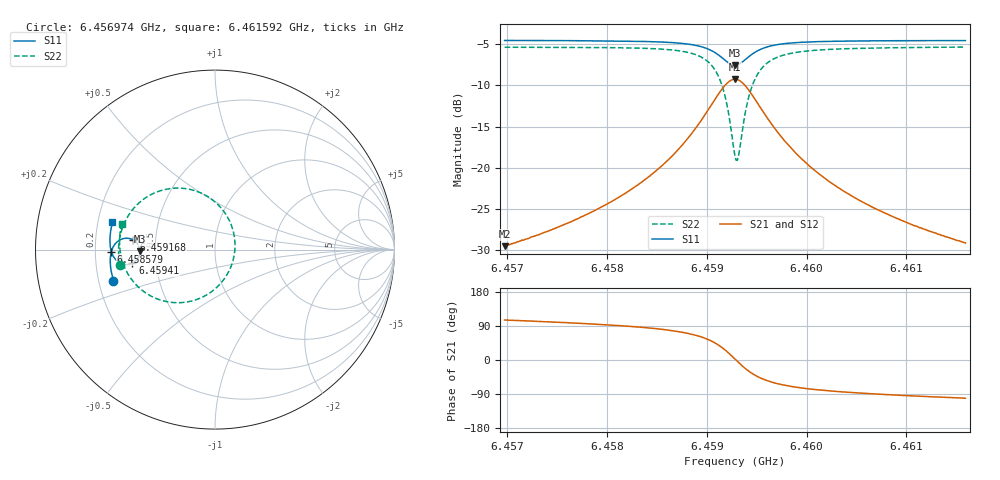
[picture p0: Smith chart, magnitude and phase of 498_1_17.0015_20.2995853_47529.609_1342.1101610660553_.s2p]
#  HZ  S  RI  R  50.00
! Rohde & Schwarz Vector Network Analyzer
! Rohde-Schwarz,ZNB20-2Port,1311601062101988,3.16
! Created: UTC 3/20/2024, 11:14:22 PM
! freq[Hz]  re:S11  im:S11  re:S21  im:S21  re:S12  im:S12  re:S22  im:S22
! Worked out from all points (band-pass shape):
!   401 points, 6.456974 GHz to 6.461592 GHz, reference 50 ohm
!   highest |S21| = -9.25 dB at 6.459283 GHz (marker M1); lowest = -29.5 dB at 6.456974 GHz (marker M2)
!   |S21| within 3 dB of the highest: 6.459053 GHz to 6.459514 GHz (460.9 kHz wide, 0.00714 % of centre)
!   lowest |S11| = -7.6 dB at 6.459283 GHz (marker M3), VSWR 2.44, Z = 20.5 - j0.487 ohm
!   |S11| at or under -10 dB: nowhere
!   |S22| runs from -19.1 to -5.4 dB; largest |S21 - S12| = 0.014
!   S11 on the Smith chart (normalised r, x): 6.456974 GHz: 0.26, -0.14; 6.458579 GHz: 0.27, -0.01; 6.459168 GHz: 0.37, +0.05; 6.45941 GHz: 0.37, -0.07; 6.461592 GHz: 0.26, +0.12
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6.4569737e9  -0.5666 -0.1725  -0.00897 0.0323  -0.00726 0.0322  -0.5316 -0.0852
6.4577473e9  -0.5806 -0.1049  -0.00554 0.0502  -0.00311 0.0496  -0.5373 0.00511
6.4581745e9  -0.5836 -0.0622  0.000285 0.0695  0.0035 0.0682  -0.5294 0.0724
6.4585209e9  -0.5798 -0.0208  0.014 0.0984  0.0181 0.0955  -0.5041 0.1502
6.4585786e9  -0.578 -0.013  0.0184 0.1051  0.0225 0.102  -0.4959 0.1667
6.4587865e9  -0.5651 0.0191  0.0456 0.1375  0.0499 0.1325  -0.4447 0.2393
6.4589366e9  -0.5425 0.0455  0.0908 0.1679  0.094 0.1612  -0.3616 0.3038
6.4590751e9  -0.499 0.0631  0.1777 0.1845  0.1786 0.1772  -0.2028 0.3428
6.4591675e9  -0.4545 0.0531  0.2673 0.1537  0.2676 0.1477  -0.0367 0.2931
6.4592137e9  -0.4334 0.0342  0.3109 0.1109  0.3122 0.1057  0.0462 0.2171
6.459283e9  -0.4186 -0.0098  0.3444 0.0145  0.348 0.00737  0.1113 0.0376
6.4592945e9  -0.4191 -0.0178  0.3441 -0.00351  0.3479 -0.0111  0.1112 0.00392
6.4593176e9  -0.4224 -0.0334  0.3387 -0.038  0.3425 -0.0471  0.1001 -0.0618
6.4593638e9  -0.438 -0.0594  0.3101 -0.0979  0.3123 -0.1099  0.0426 -0.175
6.45941e9  -0.46 -0.0756  0.2683 -0.1389  0.2674 -0.1522  -0.0423 -0.2499
6.4595023e9  -0.5033 -0.0822  0.1836 -0.17  0.1773 -0.1816  -0.2109 -0.2958
6.4596524e9  -0.547 -0.0618  0.0958 -0.1562  0.0873 -0.1623  -0.3782 -0.2464
6.4598141e9  -0.5685 -0.0342  0.0511 -0.1282  0.0435 -0.1311  -0.4584 -0.1744
6.4600566e9  -0.5811 0.0015  0.0221 -0.0968  0.0163 -0.0975  -0.5063 -0.0922
6.460403e9  -0.5855 0.0426  0.00621 -0.0701  0.00216 -0.0697  -0.5274 -0.0128
6.4608302e9  -0.5835 0.0854  -0.00139 -0.0517  -0.00425 -0.0508  -0.5316 0.0551
6.4615922e9  -0.5712 0.1528  -0.00664 -0.0344  -0.00831 -0.0335  -0.5202 0.1449
